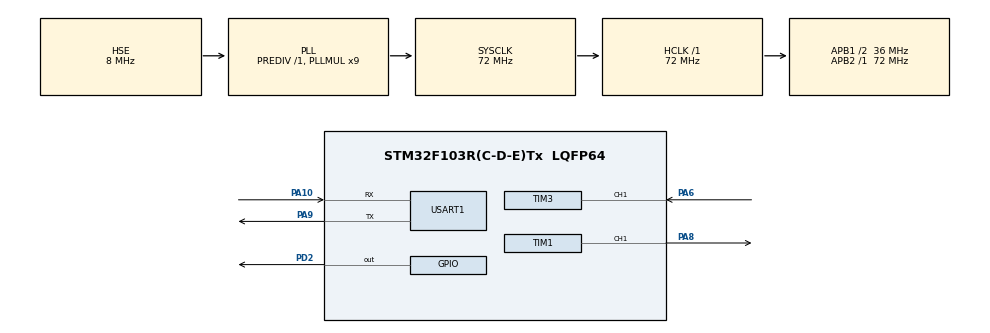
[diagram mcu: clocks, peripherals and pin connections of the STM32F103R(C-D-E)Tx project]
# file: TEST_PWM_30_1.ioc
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Mcu.Family=STM32F1
Mcu.Name=STM32F103R(C-D-E)Tx
Mcu.Package=LQFP64
NVIC.PriorityGroup=NVIC_PRIORITYGROUP_4
NVIC.TIM3_IRQn=true\:0\:0\:false\:false\:true
NVIC.USART1_IRQn=true\:0\:0\:false\:false\:true
PA10.Mode=Asynchronous
PA10.Signal=USART1_RX
PA13.Mode=Serial_Wire
PA13.Signal=SYS_JTMS-SWDIO
PA14.Mode=Serial_Wire
PA14.Signal=SYS_JTCK-SWCLK
PA6.Signal=S_TIM3_CH1
PA8.Signal=S_TIM1_CH1
PA9.Mode=Asynchronous
PA9.Signal=USART1_TX
PD0-OSC_IN.Mode=HSE-External-Oscillator
PD0-OSC_IN.Signal=RCC_OSC_IN
PD1-OSC_OUT.Mode=HSE-External-Oscillator
PD1-OSC_OUT.Signal=RCC_OSC_OUT
PD2.Signal=GPIO_Output
ProjectManager.HeapSize=0x200
ProjectManager.StackSize=0x400
ProjectManager.TargetToolchain=MDK-ARM V5
RCC.AHBFreq_Value=72000000
RCC.APB1CLKDivider=RCC_HCLK_DIV2
RCC.APB1Freq_Value=36000000
RCC.APB1TimFreq_Value=72000000
RCC.APB2Freq_Value=72000000
RCC.APB2TimFreq_Value=72000000
RCC.HCLKFreq_Value=72000000
RCC.PLLMUL=RCC_PLL_MUL9
RCC.PLLSourceVirtual=RCC_PLLSOURCE_HSE
RCC.SYSCLKFreq_VALUE=72000000
RCC.SYSCLKSource=RCC_SYSCLKSOURCE_PLLCLK
RCC.USBFreq_Value=72000000
SH.S_TIM1_CH1.0=TIM1_CH1,PWM Generation1 CH1
SH.S_TIM3_CH1.0=TIM3_CH1,Input_Capture1_from_TI1
TIM1.Channel-PWM\ Generation1\ CH1=TIM_CHANNEL_1
TIM1.Period=19999
TIM1.Prescaler=71
TIM3.Channel-Input_Capture1_from_TI1=TIM_CHANNEL_1
TIM3.Period=0xFFFF
TIM3.Prescaler=71
USART1.VirtualMode=VM_ASYNC
board=TEST_PWM_30_1

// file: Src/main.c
/**
  ******************************************************************************
  * File Name          : main.c
  * Description        : Main program body
  ******************************************************************************
  ** This notice applies to any and all portions of this file
  * that are not between comment pairs USER CODE BEGIN and
  * USER CODE END. Other portions of this file, whether
  * inserted by the user or by software development tools
  * are owned by their respective copyright owners.
  *
  * COPYRIGHT(c) 2017 STMicroelectronics
  *
  * Redistribution and use in source and binary forms, with or without modification,
  * are permitted provided that the following conditions are met:
  *   1. Redistributions of source code must retain the above copyright notice,
  *      this list of conditions and the following disclaimer.
  *   2. Redistributions in binary form must reproduce the above copyright notice,
  *      this list of conditions and the following disclaimer in the documentation
  *      and/or other materials provided with the distribution.
  *   3. Neither the name of STMicroelectronics nor the names of its contributors
  *      may be used to endorse or promote products derived from this software
  *      without specific prior written permission.
  *
  * THIS SOFTWARE IS PROVIDED BY THE COPYRIGHT HOLDERS AND CONTRIBUTORS "AS IS"
  * AND ANY EXPRESS OR IMPLIED WARRANTIES, INCLUDING, BUT NOT LIMITED TO, THE
  * IMPLIED WARRANTIES OF MERCHANTABILITY AND FITNESS FOR A PARTICULAR PURPOSE ARE
  * DISCLAIMED. IN NO EVENT SHALL THE COPYRIGHT HOLDER OR CONTRIBUTORS BE LIABLE
  * FOR ANY DIRECT, INDIRECT, INCIDENTAL, SPECIAL, EXEMPLARY, OR CONSEQUENTIAL
  * DAMAGES (INCLUDING, BUT NOT LIMITED TO, PROCUREMENT OF SUBSTITUTE GOODS OR
  * SERVICES; LOSS OF USE, DATA, OR PROFITS; OR BUSINESS INTERRUPTION) HOWEVER
  * CAUSED AND ON ANY THEORY OF LIABILITY, WHETHER IN CONTRACT, STRICT LIABILITY,
  * OR TORT (INCLUDING NEGLIGENCE OR OTHERWISE) ARISING IN ANY WAY OUT OF THE USE
  * OF THIS SOFTWARE, EVEN IF ADVISED OF THE POSSIBILITY OF SUCH DAMAGE.
  *
  ******************************************************************************
  */
#include "main.h"
#include "stm32f1xx_hal.h"
#include "tim.h"
#include "usart.h"
#include "gpio.h"

/* USER CODE BEGIN Includes */

#include "led.h"

/* USER CODE END Includes */

/* USER CODE BEGIN PV */
/* Private variables ---------------------------------------------------------*/
/* 类型定义 ------------------------------------------------------------------*/
/************************** 输入捕获外部变量 ********************************/
typedef struct              //测量高电平脉宽
{
	uint8_t   ucFinishFlag;
	uint8_t   ucStartFlag;
	uint16_t  usCtr;
	uint16_t  usPeriod;
}STRUCT_CAPTURE;

STRUCT_CAPTURE strCapture = { 0, 0, 0 };

/* USER CODE END PV */

void SystemClock_Config(void);

/* USER CODE BEGIN PFP */
/* Private function prototypes -----------------------------------------------*/

/* USER CODE END PFP */

/* USER CODE BEGIN 0 */

//uint16_t cnt0 = 0;

/* USER CODE END 0 */

int main(void)
{

  /* USER CODE BEGIN 1 */

//	uint32_t ulTmrClk,ulTime;

  /* USER CODE END 1 */

  /* MCU Configuration----------------------------------------------------------*/

  /* Reset of all peripherals, Initializes the Flash interface and the Systick. */
  HAL_Init();

  /* Configure the system clock */
  SystemClock_Config();

  /* Initialize all configured peripherals */
  MX_GPIO_Init();
  MX_TIM1_Init();
  MX_TIM3_Init();
  MX_USART1_UART_Init();

  /* USER CODE BEGIN 2 */

	HAL_TIM_PWM_Start(&htim1,TIM_CHANNEL_1);   //开启定时器1的通道1作为PWM的输出

//	ulTmrClk = HAL_RCC_GetHCLKFreq()/71;
	HAL_TIM_Base_Start_IT(&htim3);  //启动定时器3
	HAL_TIM_IC_Start_IT(&htim3,TIM_CHANNEL_1);  //启动定时器通道输入捕获并开启中断

	/* open uart receive interrupt */
	__HAL_UART_ENABLE_IT(&huart1,UART_IT_RXNE);

	printf("Hello \n\r");

  /* USER CODE END 2 */

  /* Infinite loop */
  while (1)
  {

		 /* 完成测量高电平脉宽 */
//    if(strCapture.ucFinishFlag == 1 )
//		{
//      /* 计算高电平计数值 */
////			ulTime = strCapture .usPeriod * (0xFFFF) + strCapture .usCtr;
//			ulTime = strCapture .usCtr;
//			/* 打印高电平脉宽时间 */
//
//			printf("HighTime is %d %d\n",ulTime/1000,ulTime%1000);
////			printf ( ">>测得高电平脉宽时间：%d.%d s\n", ulTime / ulTmrClk, ulTime % ulTmrClk );
//			strCapture .ucFinishFlag = 0;
//		}

//		LED1 = !LED1;
//		HAL_Delay(100);

//		LED1 = 0;
//		HAL_Delay(100);
//		LED1 = 1;
//		HAL_Delay(100);

  }

}

/** System Clock Configuration
*/
void SystemClock_Config(void)
{

  RCC_OscInitTypeDef RCC_OscInitStruct;
  RCC_ClkInitTypeDef RCC_ClkInitStruct;

    /**Initializes the CPU, AHB and APB busses clocks
    */
  RCC_OscInitStruct.OscillatorType = RCC_OSCILLATORTYPE_HSE;
  RCC_OscInitStruct.HSEState = RCC_HSE_ON;
  RCC_OscInitStruct.HSEPredivValue = RCC_HSE_PREDIV_DIV1;
  RCC_OscInitStruct.HSIState = RCC_HSI_ON;
  RCC_OscInitStruct.PLL.PLLState = RCC_PLL_ON;
  RCC_OscInitStruct.PLL.PLLSource = RCC_PLLSOURCE_HSE;
  RCC_OscInitStruct.PLL.PLLMUL = RCC_PLL_MUL9;
  if (HAL_RCC_OscConfig(&RCC_OscInitStruct) != HAL_OK)
  {
    _Error_Handler(__FILE__, __LINE__);
  }

    /**Initializes the CPU, AHB and APB busses clocks
    */
  RCC_ClkInitStruct.ClockType = RCC_CLOCKTYPE_HCLK|RCC_CLOCKTYPE_SYSCLK
                              |RCC_CLOCKTYPE_PCLK1|RCC_CLOCKTYPE_PCLK2;
  RCC_ClkInitStruct.SYSCLKSource = RCC_SYSCLKSOURCE_PLLCLK;
  RCC_ClkInitStruct.AHBCLKDivider = RCC_SYSCLK_DIV1;
  RCC_ClkInitStruct.APB1CLKDivider = RCC_HCLK_DIV2;
  RCC_ClkInitStruct.APB2CLKDivider = RCC_HCLK_DIV1;

  if (HAL_RCC_ClockConfig(&RCC_ClkInitStruct, FLASH_LATENCY_2) != HAL_OK)
  {
    _Error_Handler(__FILE__, __LINE__);
  }

    /**Configure the Systick interrupt time
    */
  HAL_SYSTICK_Config(HAL_RCC_GetHCLKFreq()/1000);

    /**Configure the Systick
    */
  HAL_SYSTICK_CLKSourceConfig(SYSTICK_CLKSOURCE_HCLK);

  /* SysTick_IRQn interrupt configuration */
  HAL_NVIC_SetPriority(SysTick_IRQn, 0, 0);
}

/* USER CODE BEGIN 4 */

/**
  * 函数功能: 非阻塞模式下定时器的回调函数
  * 输入参数: htim：定时器句柄
  * 返 回 值: 无
  * 说    明: 无
  */
void HAL_TIM_PeriodElapsedCallback(TIM_HandleTypeDef *htim)
{
	strCapture .usPeriod ++;
}

/**
  * 函数功能: 定时器输入捕获中断回调函数
  * 输入参数: htim：定时器句柄
  * 返 回 值: 无
  * 说    明: 无
  */
void HAL_TIM_IC_CaptureCallback(TIM_HandleTypeDef *htim)
{
//	printf("222 \n\r");

//	uint16_t cnt1=0,cnt2=0,cnt3=0;
//	uint16_t cntTime = 0;
	uint32_t ulTime;
//	uint32_t ulTmrClk;
//	uint32_t ulVal;

	TIM_IC_InitTypeDef sConfigIC;

	if ( strCapture .ucStartFlag == 0 )
  {
    htim3.Instance->CNT=0; // 清零定时器计数
    strCapture .usPeriod = 0;
    strCapture .usCtr = 0;

//    // 配置输入捕获参数，主要是修改触发电平
//    sConfigIC.ICPolarity = TIM_INPUTCHANNELPOLARITY_FALLING;
//    sConfigIC.ICSelection = TIM_ICSELECTION_DIRECTTI;
//    sConfigIC.ICPrescaler = TIM_ICPSC_DIV1;
//    sConfigIC.ICFilter = 0;
//    HAL_TIM_IC_ConfigChannel(&htim3, &sConfigIC, TIM_CHANNEL_1);
    // 清除中断标志位
    __HAL_TIM_CLEAR_IT(htim, TIM_IT_CC1);
    // 启动输入捕获并开启中断
    HAL_TIM_IC_Start_IT(&htim3,TIM_CHANNEL_1);
    strCapture .ucStartFlag = 1;
  }

  else
  {
    // 获取定时器计数值
    strCapture .usCtr = HAL_TIM_ReadCapturedValue(&htim3,TIM_CHANNEL_1);
    // 配置输入捕获参数，主要是修改触发电平
//    sConfigIC.ICPolarity = TIM_INPUTCHANNELPOLARITY_RISING;
//    sConfigIC.ICSelection = TIM_ICSELECTION_DIRECTTI;
//    sConfigIC.ICPrescaler = TIM_ICPSC_DIV1;
//    sConfigIC.ICFilter = 0;
//    HAL_TIM_IC_ConfigChannel(&htim3, &sConfigIC, TIM_CHANNEL_1);

		/* 获取定时器时钟周期 */
//	ulTmrClk = HAL_RCC_GetHCLKFreq()/71;

//		ulTime = strCapture .usCtr;
		/* 计算高电平计数值 */
			ulTime = strCapture .usPeriod * (0xFFFF) + strCapture .usCtr;
			/* 打印高电平脉宽时间 */

//		ulVal = ulTime /ulTmrClk;

			printf("HighTime is %d %d\n",ulTime/1000,ulTime%1000);

    // 清除中断标志位
    __HAL_TIM_CLEAR_IT(htim, TIM_IT_CC1);
    // 启动输入捕获并开启中断
    HAL_TIM_IC_Start_IT(&htim3,TIM_CHANNEL_1);
    strCapture .ucStartFlag = 0;
    strCapture .ucFinishFlag = 1;
  }

//	if (cntTime == 0)
//	{
//		cnt1 = HAL_TIM_ReadCapturedValue(&htim3,TIM_CHANNEL_1);
//	}
//	if ( cntTime == 1 )
//	{
//		cnt2 = HAL_TIM_ReadCapturedValue(&htim3,TIM_CHANNEL_1);
//		if( cnt2 <= cnt1 )
//		{
//			cnt3 = 65536 - cnt1 + cnt2;
//		}
//		cnt3 = cnt2-cnt1;
//		printf("cnt3 is %d %d\n\r",cnt3/1000,cnt3%1000);
//	}
//
//	printf("cnt3 is %d\n\r",cnt3);

	// 清除中断标志位
//    __HAL_TIM_CLEAR_IT(htim, TIM_IT_CC1);
//    // 启动输入捕获并开启中断
//    HAL_TIM_IC_Start_IT(&htim3,TIM_CHANNEL_1);

//		cntTime++;
//		if ( cntTime >= 2 )
//		{
//			cntTime = 0;
//		}
}

/* USER CODE END 4 */

void _Error_Handler(char * file, int line)
{
  while(1)
  {
  }
}

/************************ (C) COPYRIGHT STMicroelectronics *****END OF FILE****/
